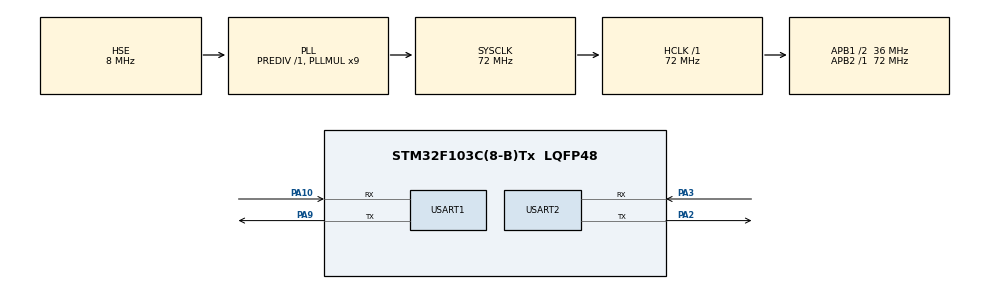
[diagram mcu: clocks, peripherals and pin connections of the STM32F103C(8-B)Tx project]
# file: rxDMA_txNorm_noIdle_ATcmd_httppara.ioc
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Dma.Request0=USART1_RX
Dma.USART1_RX.0.Direction=DMA_PERIPH_TO_MEMORY
Dma.USART1_RX.0.Instance=DMA1_Channel5
Dma.USART1_RX.0.MemDataAlignment=DMA_MDATAALIGN_BYTE
Dma.USART1_RX.0.MemInc=DMA_MINC_ENABLE
Dma.USART1_RX.0.Mode=DMA_NORMAL
Dma.USART1_RX.0.PeriphDataAlignment=DMA_PDATAALIGN_BYTE
Dma.USART1_RX.0.PeriphInc=DMA_PINC_DISABLE
Dma.USART1_RX.0.Priority=DMA_PRIORITY_LOW
Mcu.Family=STM32F1
Mcu.Name=STM32F103C(8-B)Tx
Mcu.Package=LQFP48
NVIC.DMA1_Channel5_IRQn=true\:0\:0\:false\:false\:true\:false\:true
NVIC.PriorityGroup=NVIC_PRIORITYGROUP_4
NVIC.USART1_IRQn=true\:0\:0\:false\:true\:true\:1\:true\:true
PA10.GPIO_PuPd=GPIO_NOPULL
PA10.Mode=Asynchronous
PA10.Signal=USART1_RX
PA13.Mode=Trace_Asynchronous_SW
PA13.Signal=SYS_JTMS-SWDIO
PA14.Mode=Trace_Asynchronous_SW
PA14.Signal=SYS_JTCK-SWCLK
PA2.Mode=Asynchronous
PA2.Signal=USART2_TX
PA3.Mode=Asynchronous
PA3.Signal=USART2_RX
PA9.Mode=Asynchronous
PA9.Signal=USART1_TX
PB3.Mode=Trace_Asynchronous_SW
PB3.Signal=SYS_JTDO-TRACESWO
PD0-OSC_IN.Mode=HSE-External-Oscillator
PD0-OSC_IN.Signal=RCC_OSC_IN
PD1-OSC_OUT.Mode=HSE-External-Oscillator
PD1-OSC_OUT.Signal=RCC_OSC_OUT
ProjectManager.HeapSize=0x200
ProjectManager.StackSize=0x400
ProjectManager.TargetToolchain=MDK-ARM V5.27
RCC.AHBFreq_Value=72000000
RCC.APB1CLKDivider=RCC_HCLK_DIV2
RCC.APB1Freq_Value=36000000
RCC.APB1TimFreq_Value=72000000
RCC.APB2Freq_Value=72000000
RCC.APB2TimFreq_Value=72000000
RCC.HCLKFreq_Value=72000000
RCC.PLLMUL=RCC_PLL_MUL9
RCC.PLLSourceVirtual=RCC_PLLSOURCE_HSE
RCC.SYSCLKFreq_VALUE=72000000
RCC.SYSCLKSource=RCC_SYSCLKSOURCE_PLLCLK
RCC.USBFreq_Value=72000000
USART1.VirtualMode=VM_ASYNC
USART2.VirtualMode=VM_ASYNC
board=custom

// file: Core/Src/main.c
//https://www.programmersought.com/article/21064906427/
//test dma rx with idle interrupt
//tx using normal uart_transmit
//http get with sim868 works

/* USER CODE BEGIN Header */
/**
  ******************************************************************************
  * @file           : main.c
  * @brief          : Main program body
  ******************************************************************************
  * @attention
  *
  * <h2><center>&copy; Copyright (c) 2021 STMicroelectronics.
  * All rights reserved.</center></h2>
  *
  * This software component is licensed by ST under BSD 3-Clause license,
  * the "License"; You may not use this file except in compliance with the
  * License. You may obtain a copy of the License at:
  *                        opensource.org/licenses/BSD-3-Clause
  *
  ******************************************************************************
  */
/* USER CODE END Header */
#include "main.h"
#include "dma.h"
#include "usart.h"
#include "gpio.h"

/* USER CODE BEGIN Includes */
#include <stdio.h>
/* USER CODE END Includes */

/* USER CODE BEGIN PD */
void check_resp(void);
void getLEN_restartDMA(void);
/* USER CODE END PD */

/* USER CODE BEGIN PV */
uint8_t op_name = 1;
/*
1:ATE0
2:AT+CGREG?
3:AT+SAPBR=3,1,"CONTYPE","GPRS"
4:AT+SAPBR=3,1,"APN","XOX"
5:AT+SAPBR=1,1
6:AT+HTTPINIT
7:AT+HTTPPARA="CID",1
8:AT+HTTPPARA="URL","<server ip address>/gpstracker/recv_data.php?name=Lucia&message=Cau"
9:AT+HTTPACTION=0
10:AT+HTTPREAD
11:AT+HTTPTERM
12:AT+SAPBR=0,1
*/
uint8_t i;
uint8_t mytemp;
/* USER CODE END PV */

void SystemClock_Config(void);
static void MX_NVIC_Init(void);

/* USER CODE BEGIN 0 */
int _write(int file, char *ptr, int len)
{
  int i=0;
  for(i=0 ; i<len ; i++)
    ITM_SendChar((*ptr++));
  return len;
}
/* USER CODE END 0 */

int main(void)
{

  /* MCU Configuration--------------------------------------------------------*/

  /* Reset of all peripherals, Initializes the Flash interface and the Systick. */
  HAL_Init();

  /* Configure the system clock */
  SystemClock_Config();

  /* Initialize all configured peripherals */
  MX_GPIO_Init();
  MX_DMA_Init();
  MX_USART1_UART_Init();
  MX_USART2_UART_Init();

  /* Initialize interrupts */
  MX_NVIC_Init();
  /* USER CODE BEGIN 2 */

	HAL_UART_Receive_DMA(&huart1, UsartType.RX_pData, RX_LEN);  //Enable serial port DMA receiving interrupt

  /* USER CODE END 2 */

  /* Infinite loop */
  /* USER CODE BEGIN WHILE */
  while (1)
  {

		if(UsartType.RX_flag)    	// Sign of received data
    {
			UsartType.RX_flag=0;	//Clear the received flag
			//HAL_UART_Transmit(&huart2, UsartType.RX_pData, UsartType.RX_Size, 0xFFFF);

			if (op_name == 1) {
				if ( UsartType.RX_pData[7] == 0x4F && UsartType.RX_pData[8] == 0x4B ) {	//OK
					printf("echo is off\n");
					op_name = 2;
				} else if ( UsartType.RX_pData[2] == 0x4F && UsartType.RX_pData[3] == 0x4B ) { //OK
					printf("echo already off\n");
					op_name = 2;
				} else {
					printf("echo error\n");
				}

			} else if (op_name == 2) {
				if ( UsartType.RX_pData[10] == 0x30 && UsartType.RX_pData[12] == 0x31 ) {	//+CGREG: 0,1
					printf("registered to network\n");
					op_name = 3;
				} else {
					printf("registration error\n");
				}

			} else if (op_name == 3) {
				if ( UsartType.RX_pData[2] == 0x4F && UsartType.RX_pData[3] == 0x4B ) {	//OK
					printf("SAPBR CONTYPE GPRS ok\n");
					op_name = 4;
				} else {
					printf("SAPBR CONTYPE GPRS error\n");
					op_name = 11;	//need to HTTPTERM, SAPBR=0,1
				}

			} else if (op_name == 4) {
				if ( UsartType.RX_pData[2] == 0x4F && UsartType.RX_pData[3] == 0x4B ) {	//OK
					printf("SAPBR APN OK\n");
					op_name = 5;
				} else {
					printf("SAPBR APN error\n");
					op_name = 11;	//need to HTTPTERM, SAPBR=0,1
				}

			} else if (op_name == 5) {
				if ( UsartType.RX_pData[2] == 0x4F && UsartType.RX_pData[3] == 0x4B ) {	//OK
					printf("SAPBR 1,1 ok\n");
					op_name = 6;
				} else {
					printf("SAPBR 1,1 error\n");
					op_name = 11;	//need to HTTPTERM, SAPBR=0,1
				}

			} else if (op_name == 6) {
				if ( UsartType.RX_pData[2] == 0x4F && UsartType.RX_pData[3] == 0x4B ) {	//OK
					printf("HTTPINIT ok\n");
					op_name = 7;
				} else {
					printf("HTTPINIT error\n");
				}

			} else if (op_name == 7) {
				if ( UsartType.RX_pData[2] == 0x4F && UsartType.RX_pData[3] == 0x4B ) {	//OK
					printf("HTTPPARA CID 1 ok\n");
					op_name = 8;
				} else {
					printf("HTTPPARA CID 1 error\n");
				}

			} else if (op_name == 8) {
				check_resp();
				if ( UsartType.RX_pData[2] == 0x4F && UsartType.RX_pData[3] == 0x4B ) {	//OK
					printf("HTTPPARA URL OK\n");
					op_name = 9;
				} else {
					printf("HTTPPARA URL error\n");
				}

			} else if (op_name == 9) {
				check_resp();
				if ( UsartType.RX_pData[23] == 0x32 && UsartType.RX_pData[24] == 0x30 && UsartType.RX_pData[25] == 0x30 ) {	//200
					printf("HTTPACTION=0 OK\n");
					op_name = 10;
				} else {
					printf("HTTPACTION=0 error\n");
					op_name = 11;
				}

			} else if (op_name == 10) {
				if ( UsartType.RX_pData[17] == 0x4C ) {	//Lucia says: Cau
					printf("AT+HTTPREAD ok\n");
					op_name = 11;
				} else {
					printf("AT+HTTPREAD error\n");
				}

			} else if (op_name == 11) {
				if ( UsartType.RX_pData[2] == 0x4F && UsartType.RX_pData[3] == 0x4B ) {	//ok
					printf("HTTPTERM ok\n");
					op_name = 12;
				} else {
					printf("HTTPTERM error\n");
				}

			} else if (op_name == 12) {
				if ( UsartType.RX_pData[2] == 0x4F && UsartType.RX_pData[3] == 0x4B ) {	//ok
					printf("SAPBR=0,1 ok\n");
					op_name = 1;
				} else {
					printf("SAPBR=0,1 error\n");
				}
			}

		}

		if(UsartType.RX_flag == 0) {
			if (op_name == 1) {
				HAL_UART_Transmit(&huart1, (uint8_t *)"ATE0\r",sizeof("ATE0\r"), 50);
			}
			if (op_name == 2) {
				HAL_UART_Transmit(&huart1, (uint8_t *)"AT+CGREG?\r",sizeof("AT+CGREG?\r"), 50);
			}
			if (op_name == 3) {
				HAL_UART_Transmit(&huart1, (uint8_t *)"AT+SAPBR=3,1,\"CONTYPE\",\"GPRS\"\r",sizeof("AT+SAPBR=3,1,\"CONTYPE\",\"GPRS\"\r"), 50);
			}
			if (op_name == 4) {
				HAL_UART_Transmit(&huart1, (uint8_t *)"AT+SAPBR=3,1,\"APN\",\"XOX\"\r",sizeof("AT+SAPBR=3,1,\"APN\",\"XOX\"\r"), 50);
			}
			if (op_name == 5) {
				HAL_UART_Transmit(&huart1, (uint8_t *)"AT+SAPBR=1,1\r",sizeof("AT+SAPBR=1,1\r"), 50);
			}
			if (op_name == 6) {
				HAL_UART_Transmit(&huart1, (uint8_t *)"AT+HTTPINIT\r",sizeof("AT+HTTPINIT\r"), 50);
			}
			if (op_name == 7) {
				HAL_UART_Transmit(&huart1, (uint8_t *)"AT+HTTPPARA=\"CID\",1\r",sizeof("AT+HTTPPARA=\"CID\",1\r"), 50);
			}
			if (op_name == 8) {
				HAL_UART_Transmit(&huart1, (uint8_t *)"AT+HTTPPARA=\"URL\",\"<server ip address>/gpstracker/recv_data.php?name=Lucia&message=Cau\"\r",sizeof("AT+HTTPPARA=\"URL\",\"<server ip address>/gpstracker/recv_data.php?name=Lucia&message=Cau\"\r"), 50);
			}
			if (op_name == 9) {
				HAL_UART_Transmit(&huart1, (uint8_t *)"AT+HTTPACTION=0\r",sizeof("AT+HTTPACTION=0\r"), 50);
				HAL_Delay(2000);
			}
			if (op_name == 10) {
				HAL_UART_Transmit(&huart1, (uint8_t *)"AT+HTTPREAD\r",sizeof("AT+HTTPREAD\r"), 50);
			}
			if (op_name == 11) {
				HAL_UART_Transmit(&huart1, (uint8_t *)"AT+HTTPTERM\r",sizeof("AT+HTTPTERM\r"), 50);
			}
			if (op_name == 12) {
				HAL_UART_Transmit(&huart1, (uint8_t *)"AT+SAPBR=0,1\r",sizeof("AT+SAPBR=0,1\r"), 50);
			}
    }
		UsartType.RX_flag = 1;
		HAL_Delay(500);
		getLEN_restartDMA();	//get length of recv msg and restart dma
		HAL_Delay(500);

    /* USER CODE END WHILE */

  }
}

void SystemClock_Config(void)
{
  RCC_OscInitTypeDef RCC_OscInitStruct = {0};
  RCC_ClkInitTypeDef RCC_ClkInitStruct = {0};

  /** Initializes the RCC Oscillators according to the specified parameters
  * in the RCC_OscInitTypeDef structure.
  */
  RCC_OscInitStruct.OscillatorType = RCC_OSCILLATORTYPE_HSE;
  RCC_OscInitStruct.HSEState = RCC_HSE_ON;
  RCC_OscInitStruct.HSEPredivValue = RCC_HSE_PREDIV_DIV1;
  RCC_OscInitStruct.HSIState = RCC_HSI_ON;
  RCC_OscInitStruct.PLL.PLLState = RCC_PLL_ON;
  RCC_OscInitStruct.PLL.PLLSource = RCC_PLLSOURCE_HSE;
  RCC_OscInitStruct.PLL.PLLMUL = RCC_PLL_MUL9;
  if (HAL_RCC_OscConfig(&RCC_OscInitStruct) != HAL_OK)
  {
    Error_Handler();
  }
  /** Initializes the CPU, AHB and APB buses clocks
  */
  RCC_ClkInitStruct.ClockType = RCC_CLOCKTYPE_HCLK|RCC_CLOCKTYPE_SYSCLK
                              |RCC_CLOCKTYPE_PCLK1|RCC_CLOCKTYPE_PCLK2;
  RCC_ClkInitStruct.SYSCLKSource = RCC_SYSCLKSOURCE_PLLCLK;
  RCC_ClkInitStruct.AHBCLKDivider = RCC_SYSCLK_DIV1;
  RCC_ClkInitStruct.APB1CLKDivider = RCC_HCLK_DIV2;
  RCC_ClkInitStruct.APB2CLKDivider = RCC_HCLK_DIV1;

  if (HAL_RCC_ClockConfig(&RCC_ClkInitStruct, FLASH_LATENCY_2) != HAL_OK)
  {
    Error_Handler();
  }
}

/**
  * @brief NVIC Configuration.
  * @retval None
  */
static void MX_NVIC_Init(void)
{
  /* USART1_IRQn interrupt configuration */
  HAL_NVIC_SetPriority(USART1_IRQn, 0, 0);
  HAL_NVIC_EnableIRQ(USART1_IRQn);
}

/* USER CODE BEGIN 4 */
void check_resp(void) {
	printf("resp : ");
	for (i = 0; i < UsartType.RX_Size; ++i)
  {
    printf("%02X", (uint8_t)(UsartType.RX_pData[i] & 0xFF));		//print uint8_t with 2 digits
  }
	printf("\n");
}

void getLEN_restartDMA(void) {
	HAL_UART_DMAStop(&huart1);
	mytemp = huart1.hdmarx->Instance->CNDTR; //Get the remaining dma length
	UsartType.RX_Size =  RX_LEN - mytemp;
	HAL_UART_Receive_DMA(&huart1,UsartType.RX_pData,RX_LEN);
}
/* USER CODE END 4 */

void Error_Handler(void)
{
}

/************************ (C) COPYRIGHT STMicroelectronics *****END OF FILE****/
